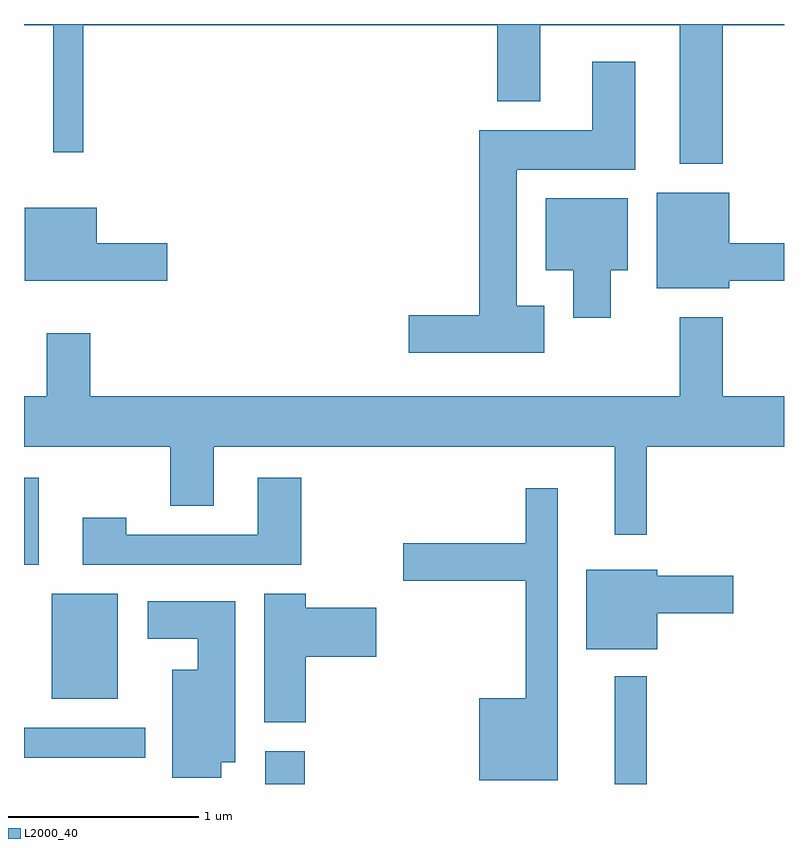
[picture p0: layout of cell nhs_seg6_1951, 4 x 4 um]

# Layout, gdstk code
import gdstk
lib = gdstk.Library(unit=1e-6, precision=1e-09)
def R(c, l, rs):  # rectangles x0, y0, x1, y1
    for r in rs: c.add(gdstk.rectangle(r[:2], r[2:], *l))
def P(c, l, *ps):  # polygons
    for p in ps: c.add(gdstk.Polygon(p, *l))
L2000_40 = (2000, 40)

nhs_seg6_1951 = lib.new_cell('nhs_seg6_1951')
R(nhs_seg6_1951, L2000_40, [(244.881,1648.162,245.089,1648.334), (246.721,1648.162,246.889,1648.728), (243.611,1648.301,244.248,1648.459), (243.756,1648.611,244.104,1649.164), (243.611,1649.316,243.689,1649.774)])
P(nhs_seg6_1951, L2000_40, [(247.289,1652.156),(247.611,1652.156),(247.611,1652.162),(243.611,1652.162),(243.611,1652.156),(243.766,1652.156),(243.766,1651.488),(243.924,1651.488),(243.924,1652.156),(246.101,1652.156),(246.101,1651.756),(246.329,1651.756),(246.329,1652.156),(247.061,1652.156),(247.061,1651.426),(247.289,1651.426)],
  [(246.349,1650.679),(246.204,1650.679),(246.204,1651.396),(246.829,1651.396),(246.829,1651.964),(246.601,1651.964),(246.601,1651.604),(246.006,1651.604),(246.006,1650.629),(245.636,1650.629),(245.636,1650.431),(246.349,1650.431)],
  [(247.324,1650.811),(247.611,1650.811),(247.611,1651.009),(247.324,1651.009),(247.324,1651.274),(246.941,1651.274),(246.941,1650.771),(247.324,1650.771)],
  [(246.699,1650.866),(246.789,1650.866),(246.789,1651.244),(246.356,1651.244),(246.356,1650.866),(246.501,1650.866),(246.501,1650.616),(246.699,1650.616)],
  [(244.364,1651.009),(243.994,1651.009),(243.994,1651.194),(243.616,1651.194),(243.616,1650.811),(244.364,1650.811)],
  [(246.889,1649.936),(247.611,1649.936),(247.611,1650.204),(247.289,1650.204),(247.289,1650.619),(247.061,1650.619),(247.061,1650.204),(243.959,1650.204),(243.959,1650.534),(243.731,1650.534),(243.731,1650.204),(243.611,1650.204),(243.611,1649.936),(244.381,1649.936),(244.381,1649.626),(244.609,1649.626),(244.609,1649.936),(246.721,1649.936),(246.721,1649.473),(246.889,1649.473)],
  [(245.069,1649.774),(244.841,1649.774),(244.841,1649.474),(244.149,1649.474),(244.149,1649.564),(243.921,1649.564),(243.921,1649.316),(245.069,1649.316)],
  [(246.419,1649.718),(246.251,1649.718),(246.251,1649.429),(245.606,1649.429),(245.606,1649.231),(246.251,1649.231),(246.251,1648.614),(246.006,1648.614),(246.006,1648.181),(246.419,1648.181)],
  [(246.944,1649.061),(247.344,1649.061),(247.344,1649.259),(246.944,1649.259),(246.944,1649.289),(246.571,1649.289),(246.571,1648.871),(246.944,1648.871)],
  [(245.094,1648.831),(245.464,1648.831),(245.464,1649.089),(245.094,1649.089),(245.094,1649.164),(244.876,1649.164),(244.876,1648.486),(245.094,1648.486)],
  [(244.649,1648.276),(244.724,1648.276),(244.724,1649.124),(244.261,1649.124),(244.261,1648.926),(244.526,1648.926),(244.526,1648.764),(244.391,1648.764),(244.391,1648.196),(244.649,1648.196)])

lib.write_gds('nhs_seg6_1951.gds')
